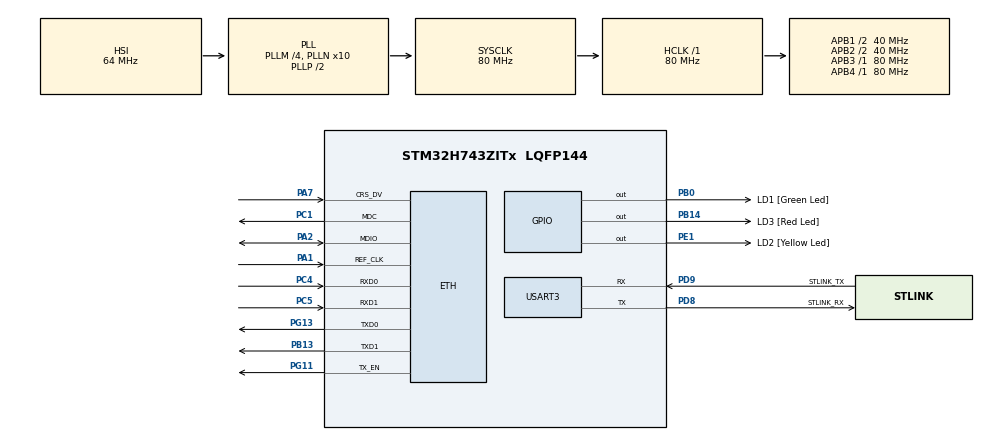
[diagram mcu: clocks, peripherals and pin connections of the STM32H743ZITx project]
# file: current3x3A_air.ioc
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CORTEX_M7.AccessPermission-Cortex_Memory_Protection_Unit_Region0_Settings=MPU_REGION_FULL_ACCESS
CORTEX_M7.AccessPermission-Cortex_Memory_Protection_Unit_Region1_Settings=MPU_REGION_FULL_ACCESS
CORTEX_M7.BaseAddress-Cortex_Memory_Protection_Unit_Region0_Settings=0x30040000
CORTEX_M7.BaseAddress-Cortex_Memory_Protection_Unit_Region1_Settings=0x30044000
CORTEX_M7.CPU_DCache=Enabled
CORTEX_M7.CPU_ICache=Enabled
CORTEX_M7.Enable-Cortex_Memory_Protection_Unit_Region0_Settings=MPU_REGION_ENABLE
CORTEX_M7.Enable-Cortex_Memory_Protection_Unit_Region1_Settings=MPU_REGION_ENABLE
CORTEX_M7.IsBufferable-Cortex_Memory_Protection_Unit_Region0_Settings=MPU_ACCESS_BUFFERABLE
CORTEX_M7.IsShareable-Cortex_Memory_Protection_Unit_Region1_Settings=MPU_ACCESS_SHAREABLE
CORTEX_M7.MPU_Control=MPU_PRIVILEGED_DEFAULT
CORTEX_M7.Size-Cortex_Memory_Protection_Unit_Region0_Settings=MPU_REGION_SIZE_256B
CORTEX_M7.Size-Cortex_Memory_Protection_Unit_Region1_Settings=MPU_REGION_SIZE_16KB
CORTEX_M7.TypeExtField-Cortex_Memory_Protection_Unit_Region1_Settings=MPU_TEX_LEVEL1
ETH.MACAddr=02\:00\:00\:03\:00\:89
ETH.MediaInterface=HAL_ETH_RMII_MODE
ETH.RxBuffAddress=0x30040200
LWIP.BSP.number=1
LWIP.GATEWAY_ADDRESS=000.000.000.000
LWIP.IP_ADDRESS=192.168.003.112
LWIP.LWIP_DHCP=1
LWIP.NETMASK_ADDRESS=255.255.255.000
LWIP.Version=v2.1.2_Cube
LWIP0.BSP.STBoard=false
LWIP0.BSP.api=BSP_COMPONENT_DRIVER
LWIP0.BSP.component=LAN8742
LWIP0.BSP.instance=LAN8742
LWIP0.BSP.name=Driver_PHY
LWIP0.BSP.solution=LAN8742
Mcu.Family=STM32H7
Mcu.Name=STM32H743ZITx
Mcu.Package=LQFP144
NVIC.ETH_IRQn=true\:5\:0\:true\:false\:true\:true\:true\:true
NVIC.PriorityGroup=NVIC_PRIORITYGROUP_4
NVIC.TIM6_DAC_IRQn=true\:15\:0\:false\:false\:true\:false\:true\:true
NVIC.TIM7_IRQn=true\:0\:0\:false\:false\:true\:true\:true\:true
NVIC.TimeBase=TIM6_DAC_IRQn
NVIC.TimeBaseIP=TIM6
PA1.GPIO_Speed=GPIO_SPEED_FREQ_HIGH
PA1.Mode=RMII
PA1.Signal=ETH_REF_CLK
PA2.GPIO_Speed=GPIO_SPEED_FREQ_HIGH
PA2.Mode=RMII
PA2.Signal=ETH_MDIO
PA7.GPIO_Speed=GPIO_SPEED_FREQ_HIGH
PA7.Mode=RMII
PA7.Signal=ETH_CRS_DV
PB0.GPIO_Label=LD1 [Green Led]
PB0.GPIO_Speed=GPIO_SPEED_FREQ_VERY_HIGH
PB0.Signal=GPIO_Output
PB13.GPIO_Speed=GPIO_SPEED_FREQ_HIGH
PB13.Mode=RMII
PB13.Signal=ETH_TXD1
PB14.GPIO_Label=LD3 [Red Led]
PB14.GPIO_Speed=GPIO_SPEED_FREQ_VERY_HIGH
PB14.Signal=GPIO_Output
PC1.GPIO_Speed=GPIO_SPEED_FREQ_HIGH
PC1.Mode=RMII
PC1.Signal=ETH_MDC
PC14-OSC32_IN\ (OSC32_IN).Mode=LSE-External-Clock-Source
PC14-OSC32_IN\ (OSC32_IN).Signal=RCC_OSC32_IN
PC4.GPIO_Speed=GPIO_SPEED_FREQ_HIGH
PC4.Mode=RMII
PC4.Signal=ETH_RXD0
PC5.GPIO_Speed=GPIO_SPEED_FREQ_HIGH
PC5.Mode=RMII
PC5.Signal=ETH_RXD1
PD8.GPIO_Label=STLINK_RX
PD8.GPIO_Speed=GPIO_SPEED_FREQ_HIGH
PD8.Mode=Asynchronous
PD8.Signal=USART3_TX
PD9.GPIO_Label=STLINK_TX
PD9.GPIO_Speed=GPIO_SPEED_FREQ_HIGH
PD9.Mode=Asynchronous
PD9.Signal=USART3_RX
PE1.GPIO_Label=LD2 [Yellow Led]
PE1.GPIO_Speed=GPIO_SPEED_FREQ_VERY_HIGH
PE1.Signal=GPIO_Output
PG11.GPIO_Speed=GPIO_SPEED_FREQ_HIGH
PG11.Mode=RMII
PG11.Signal=ETH_TX_EN
PG13.GPIO_Speed=GPIO_SPEED_FREQ_HIGH
PG13.Mode=RMII
PG13.Signal=ETH_TXD0
PH0-OSC_IN\ (PH0).Signal=RCC_OSC_IN
ProjectManager.HeapSize=0x200
ProjectManager.StackSize=0x400
ProjectManager.TargetToolchain=STM32CubeIDE
RCC.ADCFreq_Value=150000000
RCC.APB1Freq_Value=40000000
RCC.APB2Freq_Value=40000000
RCC.APB3Freq_Value=80000000
RCC.APB4Freq_Value=80000000
RCC.CortexFreq_Value=80000000
RCC.D2PPRE1=RCC_APB1_DIV2
RCC.D2PPRE2=RCC_APB2_DIV2
RCC.DIVM1=4
RCC.DIVM2=4
RCC.DIVN1=10
RCC.DIVN2=9
RCC.DIVP2=1
RCC.HCLKFreq_Value=80000000
RCC.HSE_VALUE=8000000
RCC.PLL2FRACN=3072
RCC.PLL3FRACN=0
RCC.PLLFRACN=0
RCC.SYSCLKFreq_VALUE=80000000
RCC.SYSCLKSource=RCC_SYSCLKSOURCE_PLLCLK
RCC.USBFreq_Value=80000000
TIM7.Period=100
TIM7.Prescaler=79
USART3.VirtualMode-Asynchronous=VM_ASYNC
VP_LWIP_VS_Enabled.Mode=Enabled
VP_SYS_VS_tim6.Mode=TIM6
VP_TIM7_VS_ClockSourceINT.Mode=Enable_Timer
board=NUCLEO-H743ZI2

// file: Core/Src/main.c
/* USER CODE BEGIN Header */
/**
  ******************************************************************************
  * @file           : main.c
  * @brief          : Main program body
  ******************************************************************************
  * @attention
  *
  * Copyright (c) 2022 STMicroelectronics.
  * All rights reserved.
  *
  * This software is licensed under terms that can be found in the LICENSE file
  * in the root directory of this software component.
  * If no LICENSE file comes with this software, it is provided AS-IS.
  *
  ******************************************************************************
  */
/* USER CODE END Header */
#include "main.h"
#include "lwip.h"

/* USER CODE BEGIN Includes */
//#include "lwip/sockets.h"          <----
//#include <string.h>
#include "tcpServerRAW.h"
//#include "tcpClientRAW.h"
#include "interface.h"
//#include <stdio.h>
//#include <stdlib.h>
/* USER CODE END Includes */

/* USER CODE BEGIN PD */
#define FLASH_PARAM_START_ADDR  ((uint32_t)0x081E0000)  // bank 2, sektor 7
#define FLASH_WORD_SIZE        (32)  // Flash word = 256-bit = 32 bytes
/* USER CODE END PD */

TIM_HandleTypeDef htim7;

UART_HandleTypeDef huart3;

/* USER CODE BEGIN PV */

char spi_buf_set[50], spi_buf_lem[50], spi_buf_mos[50];
double v_ref = 4.0;
const double LSB_ADC = (2 * 4.0)/pow(2, 24);
const uint32_t HALF_CODE = pow(2,24)/2;
const double LSB_DAC = 4.0/pow(2, 20);
double lem_v = 0;
double lem_A = 0;
double set_v = 0;
double set_dir = 1;
double in_set_v = 0;
double last_in_set_v = 0;
double set_A = 0;
double last_set_A = 0;
double tmp_set_A = 0;
double mos_v = 0;
double err = 0;
double acc_err = 0;
double pid_out = 0;
double fixed_pid_out = 0;
double I = 0;
double vgs = 1;
int is_last_gtab_zero = 0;
int is_new_set_A = 0;
int calib_cycles_cnt = 0;
double calib_i_cnt = 0;

void Flash_Write_Array(uint32_t address, double *data, uint32_t size) {
    HAL_FLASH_Unlock();

    FLASH_EraseInitTypeDef eraseInitStruct;
    uint32_t sectorError;

    // Erase the required flash sector
    eraseInitStruct.TypeErase    = FLASH_TYPEERASE_SECTORS;
    eraseInitStruct.Banks        = FLASH_BANK_2;
    eraseInitStruct.Sector       = FLASH_SECTOR_6;
    eraseInitStruct.NbSectors    = 1;
    eraseInitStruct.VoltageRange = FLASH_VOLTAGE_RANGE_3;

    if (HAL_FLASHEx_Erase(&eraseInitStruct, &sectorError) != HAL_OK) {
        HAL_FLASH_Lock();
        return;  // Error erasing
    }

    // Save data to flash memory in 256-bit blocks
    uint64_t flash_word[4];  // 32 bajty = 4 x 64-bit double
    for (uint32_t i = 0; i < size; i += 4) {  // Co 4 wartości (bo każda ma 8 bajtów)
        flash_word[0] = (i < size) ? ((uint64_t*)data)[i] : 0xFFFFFFFFFFFFFFFF;
        flash_word[1] = (i + 1 < size) ? ((uint64_t*)data)[i + 1] : 0xFFFFFFFFFFFFFFFF;
        flash_word[2] = (i + 2 < size) ? ((uint64_t*)data)[i + 2] : 0xFFFFFFFFFFFFFFFF;
        flash_word[3] = (i + 3 < size) ? ((uint64_t*)data)[i + 3] : 0xFFFFFFFFFFFFFFFF;

        if (HAL_FLASH_Program(FLASH_TYPEPROGRAM_FLASHWORD, address + i * 8, (uint64_t)flash_word) != HAL_OK) {
            HAL_FLASH_Lock();
            return;  // Save error
        }
    }

    HAL_FLASH_Lock();
}

void Flash_Read_Array(uint32_t address, double *data, uint32_t size) {
    uint64_t *flash_ptr = (uint64_t*)address; // pointer to flash memory

    for (uint32_t i = 0; i < size; i++) {
        data[i] = *(volatile double*)&flash_ptr[i];
    }
}

void Flash_Write_Params(uint32_t address, parameters *data) {
    HAL_FLASH_Unlock();  // unlock flash

    FLASH_EraseInitTypeDef eraseInitStruct;
    uint32_t sectorError;

    // erase sector before writing
    eraseInitStruct.TypeErase    = FLASH_TYPEERASE_SECTORS;
    eraseInitStruct.Banks        = FLASH_BANK_2;  // **Bank 2**
    eraseInitStruct.Sector       = FLASH_SECTOR_7;  // **Sector 7**
    eraseInitStruct.NbSectors    = 1;
    eraseInitStruct.VoltageRange = FLASH_VOLTAGE_RANGE_3;

    if (HAL_FLASHEx_Erase(&eraseInitStruct, &sectorError) != HAL_OK) {
        HAL_FLASH_Lock();
        return;  // error erasing
    }

    uint64_t *data_ptr = (uint64_t*)data;

    uint64_t flash_word[4];
    for (uint32_t i = 0; i < sizeof(parameters) / 8; i += 4) {
        flash_word[0] = (i < sizeof(parameters) / 8) ? data_ptr[i] : 0xFFFFFFFFFFFFFFFF;
        flash_word[1] = (i + 1 < sizeof(parameters) / 8) ? data_ptr[i + 1] : 0xFFFFFFFFFFFFFFFF;
        flash_word[2] = (i + 2 < sizeof(parameters) / 8) ? data_ptr[i + 2] : 0xFFFFFFFFFFFFFFFF;
        flash_word[3] = (i + 3 < sizeof(parameters) / 8) ? data_ptr[i + 3] : 0xFFFFFFFFFFFFFFFF;

        if (HAL_FLASH_Program(FLASH_TYPEPROGRAM_FLASHWORD, address + i * 8, (uint64_t)flash_word) != HAL_OK) {
            HAL_FLASH_Lock();
            return;  // Error writing
        }
    }

    HAL_FLASH_Lock();  // Lock flash after writing
}

void Flash_Read_Params(uint32_t address, parameters *data) {
    memcpy(data, (void*)address, sizeof(parameters));  // Read parameters from flash
}

uint32_t Flash_Read_Version(uint32_t address) {
    return *(volatile double*)address;  // Read first 4 bytes as version
}

/* USER CODE END PV */

void SystemClock_Config(void);
static void MPU_Config(void);
static void MX_GPIO_Init(void);
static void MX_USART3_UART_Init(void);
static void MX_TIM7_Init(void);

/* USER CODE BEGIN 0 */

extern struct netif gnetif;
extern parameters par;
int32_t raw;
/* USER CODE END 0 */

int main(void)
{

  /* MPU Configuration--------------------------------------------------------*/
  MPU_Config();

  /* Enable I-Cache---------------------------------------------------------*/
  SCB_EnableICache();

  /* Enable D-Cache---------------------------------------------------------*/
  SCB_EnableDCache();

  /* MCU Configuration--------------------------------------------------------*/

  /* Reset of all peripherals, Initializes the Flash interface and the Systick. */
  HAL_Init();

  /* Configure the system clock */
  SystemClock_Config();

  /* USER CODE BEGIN SysInit */
  HAL_Delay(500);
  /* USER CODE END SysInit */

  /* Initialize all configured peripherals */
  MX_GPIO_Init();
  MX_USART3_UART_Init();
  MX_LWIP_Init();
  MX_TIM7_Init();
  /* USER CODE BEGIN 2 */

  // tcp_server_init();
  //tcp_client_init();
  // HAL_Delay(2000);
  tcp_server_init();
  initInterface();

  // read par from flash
  if (par.version != Flash_Read_Version(FLASH_PARAM_START_ADDR)){
    Flash_Write_Params(FLASH_PARAM_START_ADDR, &par);
  }
  else{
    Flash_Read_Params(FLASH_PARAM_START_ADDR, &par);
  }

  HAL_TIM_Base_Start_IT(&htim7);

  /* USER CODE END 2 */

  /* Infinite loop */
  while (1)
  {

    /* USER CODE BEGIN 3 */
	  ethernetif_input(&gnetif);
	  sys_check_timeouts();
    if (par.save.val == 1){
      par.save.val = 0;
      Flash_Write_Params(FLASH_PARAM_START_ADDR, &par);
    }
    if (par.load.val == 1){
      par.load.val = 0;
      Flash_Read_Params(FLASH_PARAM_START_ADDR, &par);
    }
    if (par.veread.val == 1){
      par.veread.val = 0;
      par.ver.val = (double)Flash_Read_Version(FLASH_PARAM_START_ADDR);
    }

	}
  /* USER CODE END 3 */
}

void SystemClock_Config(void)
{
  RCC_OscInitTypeDef RCC_OscInitStruct = {0};
  RCC_ClkInitTypeDef RCC_ClkInitStruct = {0};

  /** Supply configuration update enable
  */
  HAL_PWREx_ConfigSupply(PWR_LDO_SUPPLY);
  /** Configure the main internal regulator output voltage
  */
  __HAL_PWR_VOLTAGESCALING_CONFIG(PWR_REGULATOR_VOLTAGE_SCALE3);

  while(!__HAL_PWR_GET_FLAG(PWR_FLAG_VOSRDY)) {}
  /** Initializes the RCC Oscillators according to the specified parameters
  * in the RCC_OscInitTypeDef structure.
  */
  RCC_OscInitStruct.OscillatorType = RCC_OSCILLATORTYPE_HSI;
  RCC_OscInitStruct.HSIState = RCC_HSI_DIV1;
  RCC_OscInitStruct.HSICalibrationValue = RCC_HSICALIBRATION_DEFAULT;
  RCC_OscInitStruct.PLL.PLLState = RCC_PLL_ON;
  RCC_OscInitStruct.PLL.PLLSource = RCC_PLLSOURCE_HSI;
  RCC_OscInitStruct.PLL.PLLM = 4;
  RCC_OscInitStruct.PLL.PLLN = 10;
  RCC_OscInitStruct.PLL.PLLP = 2;
  RCC_OscInitStruct.PLL.PLLQ = 2;
  RCC_OscInitStruct.PLL.PLLR = 2;
  RCC_OscInitStruct.PLL.PLLRGE = RCC_PLL1VCIRANGE_3;
  RCC_OscInitStruct.PLL.PLLVCOSEL = RCC_PLL1VCOMEDIUM;
  RCC_OscInitStruct.PLL.PLLFRACN = 0;
  if (HAL_RCC_OscConfig(&RCC_OscInitStruct) != HAL_OK)
  {
    Error_Handler();
  }
  /** Initializes the CPU, AHB and APB buses clocks
  */
  RCC_ClkInitStruct.ClockType = RCC_CLOCKTYPE_HCLK|RCC_CLOCKTYPE_SYSCLK
                              |RCC_CLOCKTYPE_PCLK1|RCC_CLOCKTYPE_PCLK2
                              |RCC_CLOCKTYPE_D3PCLK1|RCC_CLOCKTYPE_D1PCLK1;
  RCC_ClkInitStruct.SYSCLKSource = RCC_SYSCLKSOURCE_PLLCLK;
  RCC_ClkInitStruct.SYSCLKDivider = RCC_SYSCLK_DIV1;
  RCC_ClkInitStruct.AHBCLKDivider = RCC_HCLK_DIV1;
  RCC_ClkInitStruct.APB3CLKDivider = RCC_APB3_DIV1;
  RCC_ClkInitStruct.APB1CLKDivider = RCC_APB1_DIV2;
  RCC_ClkInitStruct.APB2CLKDivider = RCC_APB2_DIV2;
  RCC_ClkInitStruct.APB4CLKDivider = RCC_APB4_DIV1;

  if (HAL_RCC_ClockConfig(&RCC_ClkInitStruct, FLASH_LATENCY_1) != HAL_OK)
  {
    Error_Handler();
  }
}

static void MX_TIM7_Init(void)
{

  TIM_MasterConfigTypeDef sMasterConfig = {0};

  htim7.Instance = TIM7;
  htim7.Init.Prescaler = 79;
  htim7.Init.CounterMode = TIM_COUNTERMODE_UP;
  htim7.Init.Period = 100;
  htim7.Init.AutoReloadPreload = TIM_AUTORELOAD_PRELOAD_DISABLE;
  if (HAL_TIM_Base_Init(&htim7) != HAL_OK)
  {
    Error_Handler();
  }
  sMasterConfig.MasterOutputTrigger = TIM_TRGO_RESET;
  sMasterConfig.MasterSlaveMode = TIM_MASTERSLAVEMODE_DISABLE;
  if (HAL_TIMEx_MasterConfigSynchronization(&htim7, &sMasterConfig) != HAL_OK)
  {
    Error_Handler();
  }

}

static void MX_USART3_UART_Init(void)
{

  huart3.Instance = USART3;
  huart3.Init.BaudRate = 115200;
  huart3.Init.WordLength = UART_WORDLENGTH_8B;
  huart3.Init.StopBits = UART_STOPBITS_1;
  huart3.Init.Parity = UART_PARITY_NONE;
  huart3.Init.Mode = UART_MODE_TX_RX;
  huart3.Init.HwFlowCtl = UART_HWCONTROL_NONE;
  huart3.Init.OverSampling = UART_OVERSAMPLING_16;
  huart3.Init.OneBitSampling = UART_ONE_BIT_SAMPLE_DISABLE;
  huart3.Init.ClockPrescaler = UART_PRESCALER_DIV1;
  huart3.AdvancedInit.AdvFeatureInit = UART_ADVFEATURE_NO_INIT;
  if (HAL_UART_Init(&huart3) != HAL_OK)
  {
    Error_Handler();
  }
  if (HAL_UARTEx_SetTxFifoThreshold(&huart3, UART_TXFIFO_THRESHOLD_1_8) != HAL_OK)
  {
    Error_Handler();
  }
  if (HAL_UARTEx_SetRxFifoThreshold(&huart3, UART_RXFIFO_THRESHOLD_1_8) != HAL_OK)
  {
    Error_Handler();
  }
  if (HAL_UARTEx_DisableFifoMode(&huart3) != HAL_OK)
  {
    Error_Handler();
  }

}

static void MX_GPIO_Init(void)
{
  GPIO_InitTypeDef GPIO_InitStruct = {0};

  /* GPIO Ports Clock Enable */
  __HAL_RCC_GPIOC_CLK_ENABLE();
  __HAL_RCC_GPIOH_CLK_ENABLE();
  __HAL_RCC_GPIOA_CLK_ENABLE();
  __HAL_RCC_GPIOB_CLK_ENABLE();
  __HAL_RCC_GPIOD_CLK_ENABLE();
  __HAL_RCC_GPIOG_CLK_ENABLE();
  __HAL_RCC_GPIOE_CLK_ENABLE();

  /*Configure GPIO pin Output Level */
  HAL_GPIO_WritePin(GPIOB, LD1_Pin|LD3_Pin, GPIO_PIN_RESET);

  /*Configure GPIO pin Output Level */
  HAL_GPIO_WritePin(LD2_GPIO_Port, LD2_Pin, GPIO_PIN_RESET);

  /*Configure GPIO pins : LD1_Pin LD3_Pin */
  GPIO_InitStruct.Pin = LD1_Pin|LD3_Pin;
  GPIO_InitStruct.Mode = GPIO_MODE_OUTPUT_PP;
  GPIO_InitStruct.Pull = GPIO_NOPULL;
  GPIO_InitStruct.Speed = GPIO_SPEED_FREQ_VERY_HIGH;
  HAL_GPIO_Init(GPIOB, &GPIO_InitStruct);

  /*Configure GPIO pin : LD2_Pin */
  GPIO_InitStruct.Pin = LD2_Pin;
  GPIO_InitStruct.Mode = GPIO_MODE_OUTPUT_PP;
  GPIO_InitStruct.Pull = GPIO_NOPULL;
  GPIO_InitStruct.Speed = GPIO_SPEED_FREQ_VERY_HIGH;
  HAL_GPIO_Init(LD2_GPIO_Port, &GPIO_InitStruct);

}

/* MPU Configuration */

void MPU_Config(void)
{
  MPU_Region_InitTypeDef MPU_InitStruct = {0};

  /* Disables the MPU */
  HAL_MPU_Disable();
  /** Initializes and configures the Region and the memory to be protected
  */
  MPU_InitStruct.Enable = MPU_REGION_ENABLE;
  MPU_InitStruct.Number = MPU_REGION_NUMBER0;
  MPU_InitStruct.BaseAddress = 0x30040000;
  MPU_InitStruct.Size = MPU_REGION_SIZE_256B;
  MPU_InitStruct.SubRegionDisable = 0x0;
  MPU_InitStruct.TypeExtField = MPU_TEX_LEVEL0;
  MPU_InitStruct.AccessPermission = MPU_REGION_FULL_ACCESS;
  MPU_InitStruct.DisableExec = MPU_INSTRUCTION_ACCESS_ENABLE;
  MPU_InitStruct.IsShareable = MPU_ACCESS_NOT_SHAREABLE;
  MPU_InitStruct.IsCacheable = MPU_ACCESS_NOT_CACHEABLE;
  MPU_InitStruct.IsBufferable = MPU_ACCESS_BUFFERABLE;

  HAL_MPU_ConfigRegion(&MPU_InitStruct);
  /** Initializes and configures the Region and the memory to be protected
  */
  MPU_InitStruct.Number = MPU_REGION_NUMBER1;
  MPU_InitStruct.BaseAddress = 0x30044000;
  MPU_InitStruct.Size = MPU_REGION_SIZE_16KB;
  MPU_InitStruct.TypeExtField = MPU_TEX_LEVEL1;
  MPU_InitStruct.IsShareable = MPU_ACCESS_SHAREABLE;
  MPU_InitStruct.IsBufferable = MPU_ACCESS_NOT_BUFFERABLE;

  HAL_MPU_ConfigRegion(&MPU_InitStruct);
  /* Enables the MPU */
  HAL_MPU_Enable(MPU_PRIVILEGED_DEFAULT);

}

void HAL_TIM_PeriodElapsedCallback(TIM_HandleTypeDef *htim)
{
  if (htim->Instance == TIM6) {
    HAL_IncTick();
  }
  /* USER CODE BEGIN Callback 1 */
  if (htim->Instance == TIM7) {
    LD1_GPIO_Port->BSRR = LD1_Pin;

    LD1_GPIO_Port->BSRR = (uint32_t)LD1_Pin << 16U;
    }
  /* USER CODE END Callback 1 */
}

void Error_Handler(void)
{
  __disable_irq();
  while (1)
  {
  }
}
